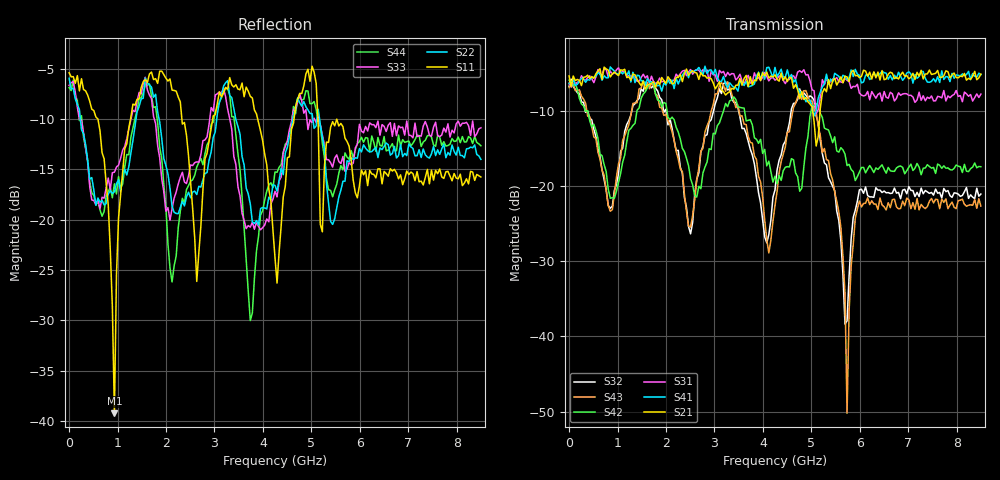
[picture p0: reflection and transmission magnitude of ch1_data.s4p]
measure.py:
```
from rohdeschwarz.instruments.vna import Vna

# Connect
vna = Vna()
vna.open_tcp()

# For touchstone file:
channel             = 1
ports_string        = "1,2,3,4"
touchstone_filename = "ch1_data.s4p"

# For trace data:
trace_name          = "Trc1"
trace_filename      = "Trc1.csv"

# Indicate which ports you want to
# capture data for before starting sweep
# Note: This must be done for each channel
# Using channel 1 for illustrative purposes:
channel = 1
scpi         = ":CALC{0}:PAR:DEF:SGR {1}"
scpi         = scpi.format(channel, ports_string)
vna.write(scpi)

# Enable manual sweep mode
# (i.e. control timing)
vna.write("INIT:CONT:ALL 0")

# Start all sweeps
vna.write("INIT:SCOP ALL")
vna.write("INIT")

# Wait for sweeps to finish
# Note: Make sure timeout is long
#       enough for sweeps to complete
vna.query("*OPC?")

# Save touchstone file to vna
# Complex formats are:
# - COMP (Re, Im)
# - LINP (Linear magnitude,   phase [deg])
# - LOGP (Log magnitude [dB], phase [deg])
complex_format = "COMP"
scpi = ":MMEM:STOR:TRAC:PORT {0},'{1}',{2},{3}"
scpi = scpi.format(channel, 'temp.s4p', complex_format, ports_string)
vna.write(scpi)

# Save trace data to vna as
# displayed on screen
# Note: See command documentation for
#       additional data format options
scpi = ":MMEM:STOR:TRAC '{0}', '{1}', FORM"
scpi = scpi.format(trace_name, 'temp.csv')
vna.write(scpi)

# Wait for saves to complete
vna.query("*OPC?")

# Transfer files from vna
# - See read_file.py
vna.file.download_file("temp.s4p", touchstone_filename)
vna.file.download_file("temp.csv", trace_filename)

# Delete files from vna
vna.file.delete("temp.s4p")
vna.file.delete("temp.csv")

vna.close()
```
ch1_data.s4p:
#  HZ  S  RI  R  50.00
! Rohde & Schwarz Vector Network Analyzer
! Rohde-Schwarz,ZNBT8-16Port,1318700624100104,2.70
! Created: UTC 10/28/2016, 11:55:06 PM
! freq[Hz]  re:S11  im:S11  re:S12  im:S12  re:S13  im:S13  re:S14  im:S14
!  re:S21  im:S21  re:S22  im:S22  re:S23  im:S23  re:S24  im:S24
!  re:S31  im:S31  re:S32  im:S32  re:S33  im:S33  re:S34  im:S34
!  re:S41  im:S41  re:S42  im:S42  re:S43  im:S43  re:S44  im:S44
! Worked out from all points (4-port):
!   201 points, 100 kHz to 8.5 GHz, reference 50 ohm
!   strongest paths, dB at 100 kHz, 2.125 GHz, 4.25 GHz, 6.375 GHz, 8.5 GHz:
!     S21: -5.4, -6.4, -5.2, -4.9, -5.1
!     S41: -6.4, -5.9, -4.3, -5.3, -5.2
!     S31: -6.4, -6.1, -5.9, -7.8, -7.8
!     S42: -5.9, -10.9, -18.7, -17.8, -17.4
!     S43: -6.9, -12.8, -22.6, -23.1, -22.7
!     S32: -6.8, -12.3, -20.5, -20.6, -21.1
!   lowest |S11| = -39.2 dB at 935.1 MHz (marker M1), VSWR 1.02, Z = 50.8 - j0.764 ohm
!   |S11| at or under -10 dB: 592.8 MHz to 1.268 GHz (675.3 MHz wide, 72.6 % of centre); 3.893 GHz to 4.643 GHz (750.4 MHz wide, 17.6 % of centre); 5.136 GHz to end of sweep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
100000  -0.535 0.0391  0.476 -0.054  0.4678 -0.0446  0.491 -0.0546
        0.5354 -0.0478  -0.4902 0.1141  0.5153 -0.0799  0.5273 -0.085
        0.4786 -0.0495  0.4524 -0.0753  -0.4502 0.1119  0.4827 -0.0728
        0.4767 -0.0488  0.4966 -0.089  0.4438 -0.0748  -0.437 0.1157
9.35089e8  0.00791 -0.00752  -0.1881 -0.5631  -0.1762 -0.4959  -0.1967 -0.5209
           -0.2056 -0.5333  -0.1357 0.0218  0.0842 0.0167  0.0724 -0.0342
           -0.1784 -0.5331  0.0921 0.0171  -0.1661 -0.0447  0.0914 0.0142
           -0.1721 -0.5536  0.0754 -0.0345  0.0879 0.0143  -0.1504 0.00735
8.5e9  0.1626 0.00852  0.4612 -0.2078  0.4038 -0.1381  0.4759 -0.1172
       0.5129 -0.209  0.0744 0.1847  -0.0267 -0.0948  -0.0857 0.1069
       0.3855 -0.1314  -0.0271 -0.084  -0.0439 0.2824  -0.022 -0.0706
       0.5305 -0.1378  -0.0794 0.1082  -0.0221 -0.0701  0.0461 0.2281
